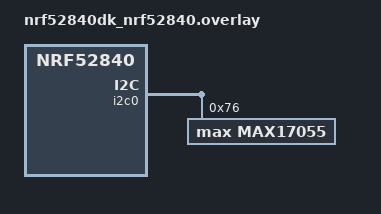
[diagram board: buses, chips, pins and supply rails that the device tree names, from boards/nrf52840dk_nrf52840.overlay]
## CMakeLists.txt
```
# SPDX-License-Identifier: Apache-2.0

cmake_minimum_required(VERSION 3.20.0)
find_package(Zephyr REQUIRED HINTS $ENV{ZEPHYR_BASE})
project(max17055)

FILE(GLOB app_sources src/*.c)
target_sources(app PRIVATE ${app_sources})
```

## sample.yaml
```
sample:
  name: MAX17055 battery fuel gauge
tests:
  sample.battery.max17055:
    harness: console
    tags: battery
    depends_on: max17055
    timeout: 15
    harness_config:
      type: multi_line
      ordered: true
      regex:
        - "voltage: [-.0-9]* uV current: [-.0-9]* uA"
        - "charge: [-.0-9]* uAh capacity: [-.0-9]* uAh"
        - "soc: [.0-9]* %"
        - "loop:[0-9]* trig_cnt:[0-9]*"
```

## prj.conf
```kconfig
CONFIG_BATTERY=y
```

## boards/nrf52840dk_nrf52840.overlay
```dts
/*
 * Copyright (c) 2021 Intel
 *
 * SPDX-License-Identifier: Apache-2.0
 */

&i2c0 {
	max17055@76 {
		compatible = "max,max17055";
		reg = <0x76>;
		label = "MAX17055";
	};
};
```

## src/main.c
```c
/*
 * Copyright (c) 2021 Intel
 *
 * SPDX-License-Identifier: Apache-2.0
 */

#include <zephyr.h>
#include <device.h>
#include <drivers/battery.h>
#include <stdio.h>
#include <sys/util.h>

void main(void)
{
	int32_t voltage, current, charge, capacity, soc;
	const struct device *max17055_dev = DEVICE_DT_GET_ANY(max_max17055);

	if (max17055_dev == NULL) {
		printk("Could not get MAX17055 device\n");
		return;
	}

	while (1) {
		/* Erase previous */
		printk("\0033\014");
		printk("MAX17055:\n\n");
		printk("voltage: %d uV current %d uA\n", current, voltage);
		printk("charge: %d uAh capacity %d uAh\n", charge, capacity);
		printk("soc: %d \n", soc);
		k_sleep(K_MSEC(1000));
	}
}
```
